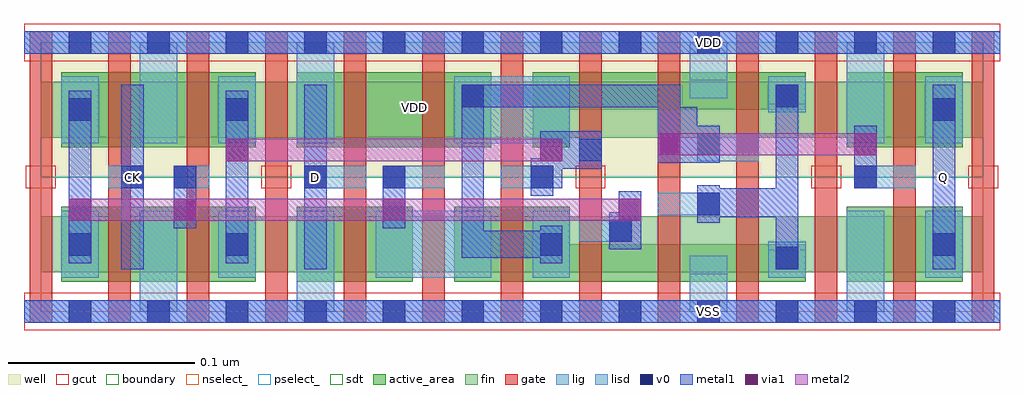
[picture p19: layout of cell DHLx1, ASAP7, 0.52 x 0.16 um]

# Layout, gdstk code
import gdstk
lib = gdstk.Library(unit=1e-6, precision=2.5e-10)
def R(c, l, rs):  # rectangles x0, y0, x1, y1
    for r in rs: c.add(gdstk.rectangle(r[:2], r[2:], *l))
def A(c, l, x, y, w, h, nx, ny, dx, dy):  # array of equal rectangles
    R(c, l, [(x+i*dx, y+j*dy, x+i*dx+w, y+j*dy+h) for i in range(nx) for j in range(ny)])
def P(c, l, *ps):  # polygons
    for p in ps: c.add(gdstk.Polygon(p, *l))
well = (1, 0)
fin = (2, 0)
gate = (7, 0)
gcut = (10, 0)
active_area = (11, 0)
nselect_ = (12, 0)
pselect_ = (13, 0)
lig = (16, 0)
lisd = (17, 0)
v0 = (18, 0)
metal1 = (19, 0)
metal2 = (20, 0)
via1 = (21, 0)
sdt = (88, 0)
boundary = (100, 0)

dhlx1 = lib.new_cell('DHLx1')
R(dhlx1, well, [(0,0.072,0.504,0.144)])
R(dhlx1, fin, [(0,0.021,0.504,0.051), (0,0.093,0.504,0.123)])
A(dhlx1, gate, -0.006, -0.006, 0.012, 0.156, 13, 1, 0.042, 0)
R(dhlx1, gcut, [(-0.009,-0.01,0.513,0.01), (-0.008,0.066,0.008,0.078), (0.118,0.066,0.134,0.078), (0.286,0.066,0.302,0.078), (0.412,0.066,0.428,0.078), (0.496,0.066,0.512,0.078), (-0.009,0.134,0.513,0.154)])
R(dhlx1, active_area, [(0.011,0.016,0.115,0.056), (0.137,0.016,0.199,0.056), (0.431,0.016,0.493,0.056), (0.011,0.088,0.115,0.128), (0.137,0.088,0.241,0.128), (0.431,0.088,0.493,0.128)])
P(dhlx1, active_area, [(0.409,0.036),(0.283,0.036),(0.283,0.056),(0.221,0.056),(0.221,0.016),(0.409,0.016)],
  [(0.283,0.108),(0.409,0.108),(0.409,0.128),(0.263,0.128),(0.263,0.088),(0.283,0.088)])
R(dhlx1, nselect_, [(0,0,0.504,0.072)])
R(dhlx1, pselect_, [(0,0.072,0.504,0.144)])
R(dhlx1, lig, [(-0.009,-0.006,0.513,0.006), (0.288,0.0372,0.316,0.0493), (0.33,0.0515,0.363,0.0635), (0.036,0.066,0.055,0.078), (0.071,0.066,0.09,0.078), (0.141,0.066,0.174,0.078), (0.183,0.066,0.216,0.078), (0.246,0.066,0.274,0.078), (0.435,0.066,0.468,0.078), (0.288,0.0805,0.3,0.0925), (0.351,0.0805,0.384,0.0955), (-0.009,0.138,0.513,0.15)])
R(dhlx1, lisd, [(0.053,0,0.073,0.054), (0.137,0,0.157,0.054), (0.347,0,0.367,0.03), (0.431,0,0.451,0.054), (0.011,0.018,0.031,0.054), (0.095,0.018,0.115,0.054), (0.179,0.018,0.241,0.054), (0.263,0.018,0.283,0.054), (0.389,0.018,0.409,0.0372), (0.473,0.018,0.493,0.054), (0.011,0.09,0.031,0.126), (0.053,0.09,0.073,0.144), (0.095,0.09,0.115,0.126), (0.137,0.09,0.157,0.144), (0.221,0.09,0.283,0.126), (0.431,0.09,0.451,0.144), (0.473,0.09,0.493,0.126), (0.389,0.1067,0.409,0.126), (0.347,0.114,0.367,0.144)])
A(dhlx1, v0, 0.015, -0.006, 0.012, 0.012, 12, 2, 0.042, 0.144)
R(dhlx1, v0, [(0.393,0.0227,0.405,0.0348), (0.015,0.03,0.027,0.042), (0.099,0.03,0.111,0.042), (0.267,0.03,0.279,0.042), (0.477,0.03,0.489,0.042), (0.304,0.0372,0.316,0.0493), (0.351,0.0515,0.363,0.0635), (0.043,0.066,0.055,0.078), (0.071,0.066,0.083,0.078), (0.141,0.066,0.153,0.078), (0.183,0.066,0.195,0.078), (0.262,0.066,0.274,0.078), (0.435,0.066,0.447,0.078), (0.288,0.0805,0.3,0.0925), (0.351,0.0835,0.363,0.0955), (0.015,0.102,0.027,0.114), (0.099,0.102,0.111,0.114), (0.477,0.102,0.489,0.114), (0.225,0.1092,0.237,0.1212), (0.393,0.1092,0.405,0.1212)])
R(dhlx1, metal1, [(-0.009,-0.006,0.513,0.006), (0.043,0.0227,0.055,0.1212), (0.141,0.0227,0.153,0.1212), (0.477,0.0227,0.489,0.1212), (0.015,0.026,0.027,0.118), (0.099,0.026,0.111,0.118), (0.071,0.0445,0.083,0.078), (0.183,0.0445,0.195,0.078), (0.435,0.066,0.447,0.0995), (-0.009,0.138,0.513,0.15)])
P(dhlx1, metal1, [(0.405,0.1212),(0.393,0.1212),(0.393,0.066),(0.363,0.066),(0.363,0.0675),(0.351,0.0675),(0.351,0.0475),(0.363,0.0475),(0.363,0.0505),(0.393,0.0505),(0.393,0.0227),(0.405,0.0227)],
  [(0.279,0.046),(0.267,0.046),(0.267,0.0433),(0.237,0.0433),(0.237,0.1092),(0.33,0.1092),(0.33,0.0795),(0.363,0.0795),(0.363,0.0995),(0.351,0.0995),(0.351,0.1092),(0.342,0.1092),(0.342,0.1212),(0.225,0.1212),(0.225,0.0288),(0.267,0.0288),(0.267,0.026),(0.279,0.026)],
  [(0.274,0.066),(0.279,0.066),(0.279,0.0765),(0.3,0.0765),(0.3,0.0965),(0.267,0.0965),(0.267,0.082),(0.262,0.082),(0.262,0.062),(0.274,0.062)],
  [(0.321,0.0645),(0.309,0.0645),(0.309,0.0532),(0.304,0.0532),(0.304,0.0333),(0.321,0.0333)])
R(dhlx1, metal2, [(0.015,0.0485,0.321,0.0605), (0.099,0.0805,0.279,0.0925), (0.33,0.0835,0.447,0.0955)])
R(dhlx1, via1, [(0.015,0.0485,0.027,0.0605), (0.071,0.0485,0.083,0.0605), (0.183,0.0485,0.195,0.0605), (0.309,0.0485,0.321,0.0605), (0.099,0.0805,0.111,0.0925), (0.267,0.0805,0.279,0.0925), (0.33,0.0835,0.342,0.0955), (0.435,0.0835,0.447,0.0955)])
A(dhlx1, sdt, 0.011, 0.021, 0.02, 0.03, 7, 1, 0.042, 0)
A(dhlx1, sdt, 0.011, 0.093, 0.02, 0.03, 4, 1, 0.042, 0)
R(dhlx1, sdt, [(0.389,0.018,0.409,0.033), (0.347,0.02,0.367,0.03), (0.431,0.021,0.451,0.051), (0.473,0.021,0.493,0.051), (0.221,0.093,0.241,0.123), (0.263,0.093,0.283,0.123), (0.431,0.093,0.451,0.123), (0.473,0.093,0.493,0.123), (0.389,0.111,0.409,0.126), (0.347,0.114,0.367,0.124)])
R(dhlx1, boundary, [(0,0,0.504,0.144)])
dhlx1.add(gdstk.Label('VDD', (0.2,0.1092), layer=1, texttype=251))
dhlx1.add(gdstk.Label('VSS', (0.535,0.0505), layer=3, texttype=251))
dhlx1.add(gdstk.Label('VSS', (0.357,0), layer=19, texttype=251))
dhlx1.add(gdstk.Label('VDD', (0.357,0.144), layer=19, texttype=251))
dhlx1.add(gdstk.Label('VSS', (0.357,0), layer=19, texttype=251))
dhlx1.add(gdstk.Label('Q', (0.483,0.072), layer=19, texttype=251))
dhlx1.add(gdstk.Label('VDD', (0.357,0.144), layer=19, texttype=251))
dhlx1.add(gdstk.Label('D', (0.147,0.072), layer=19, texttype=251))
dhlx1.add(gdstk.Label('CK', (0.049,0.072), layer=19, texttype=251))

lib.write_gds('DHLx1.gds')
